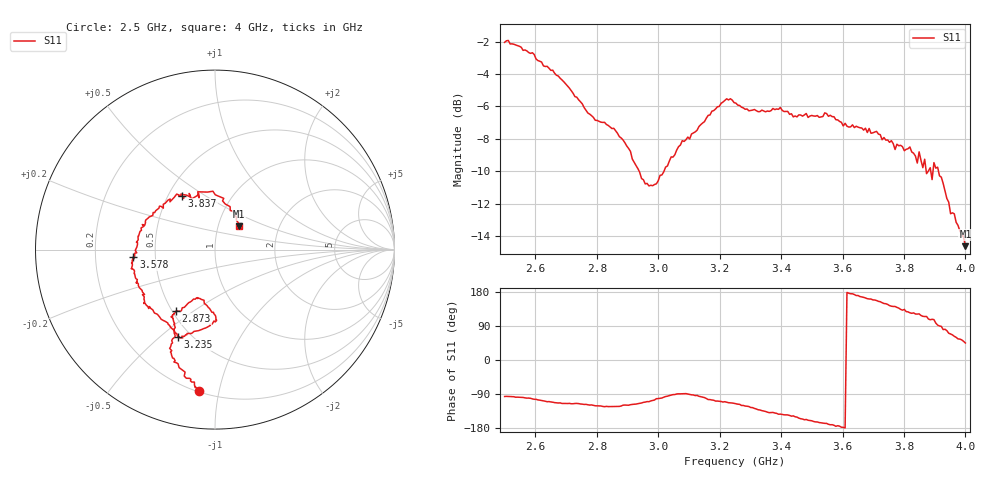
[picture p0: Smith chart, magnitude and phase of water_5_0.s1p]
# MHz S MA R 50
!  freq  S11
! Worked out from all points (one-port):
!   250 points, 2.5 GHz to 4 GHz, reference 50 ohm
!   lowest |S11| = -14.6 dB at 4 GHz (marker M1), VSWR 1.46, Z = 62.6 + j17 ohm
!   |S11| at or under -10 dB: 2.938 GHz to 3.019 GHz (80.93 MHz wide, 2.72 % of centre); 3.872465 GHz to 3.879148 GHz (6.683 MHz wide, 0.172 % of centre); 3.912 GHz to end of sweep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
!   S11 on the Smith chart (normalised r, x): 2.5 GHz: 0.21, -0.87; 2.873 GHz: 0.52, -0.43; 3.235 GHz: 0.42, -0.58; 3.578 GHz: 0.37, -0.04; 3.837 GHz: 0.59, +0.40; 4 GHz: 1.25, +0.34
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2500  0.791 -96.3
2590.361  0.7344 -102.5
2692.771  0.5972 -114.5
2795.181  0.4542 -120.8
2873.494  0.4044 -122.5
2879.518  0.4005 -121.4
2969.88  0.2848 -110.0
3066.265  0.3766 -89.3
3126.506  0.4231 -93.5
3162.651  0.4704 -104.4
3234.94  0.5294 -113.0
3253.012  0.5132 -115.6
3361.446  0.4839 -139.0
3439.759  0.4654 -147.5
3542.169  0.4789 -167.2
3578.313  0.4561 -174.9
3626.506  0.4335 174.8
3710.843  0.4197 157.0
3813.253  0.371 127.0
3837.349  0.3523 121.4
3867.47  0.3443 114.7
3873.494  0.3107 114.9
3885.542  0.3242 106.2
3891.566  0.2979 107.4
3897.59  0.3361 106.6
3909.639  0.3254 92.1
3945.783  0.2537 70.6
4000  0.1855 44.9
